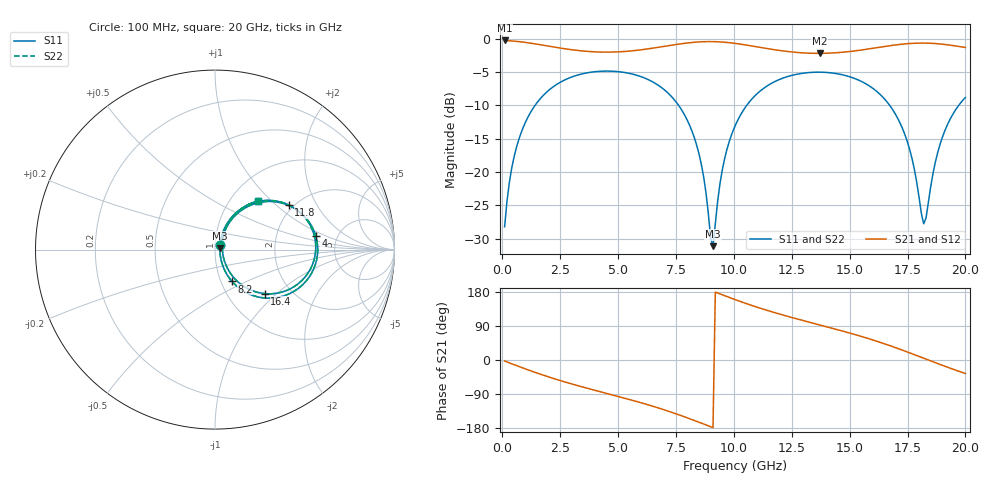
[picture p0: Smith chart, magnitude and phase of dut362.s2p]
! Touchstone file exported from HFSS 2026.1.0
!  File:  C:/ffzhzh/LocalFiles/Ansys_Project_Files/temp_train_TSV_RDL_362_1783039077_51716.aedt
!  Generated:  08:59:13 AM Jul  3, 2026
!  Design:  TSV_RDL
!  Project:  temp_train_TSV_RDL_362_1783039077_51716
! Variables:
!  h_bsmrdl = 3.42um
!  h_ox = 20um
!  h_rdl = 5um
!  h_sub = 97.12um
!  h_tmrdl = 3.23um
!  h_tsv = 97.12um
!  h_via = 3um
!  l_bsmrdl = 839.72um
!  l_sub = 6527.89um
!  l_tmrdl = 867.21um
!  m_sub = 200um
!  pitch = 57.33um
!  r_tsv = 8.73um
!  s_tmrdl = 10um
!  w_bsmrdl = 23.03um
!  w_sub = 500um
!  w_tmrdl = 23.6um
!  x_tsv_center1 = 879.01um
!  x_tsv_center2 = 1741.76um
!  x_tsv_center3 = 2632.57um
!  x_tsv_center4 = 3495.32um
!  x_tsv_center5 = 4386.13um
!  x_tsv_center6 = 5248.88um
# GHz S MA R 50.000000
! Terminal data exported
! Port[1] = TM_RDL1_1_T1
! Port[2] = TM_RDL5_1_T1
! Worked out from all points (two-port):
!   200 points, 100 MHz to 20 GHz, reference 50 ohm
!   highest |S21| = -0.25 dB at 100 MHz (marker M1); lowest = -2.2 dB at 13.7 GHz (marker M2)
!   |S21| within 3 dB of the highest: start of sweep to end of sweep
!   lowest |S11| = -31.1 dB at 9.1 GHz (marker M3), VSWR 1.06, Z = 52.8 + j0.709 ohm
!   |S11| at or under -10 dB: start of sweep to 1.414 GHz; 7.615 GHz to 10.56 GHz (2.941 GHz wide, 32.4 % of centre); 16.73 GHz to 19.71 GHz (2.98 GHz wide, 16.4 % of centre)
!   |S22| runs from -31.0 to -4.8 dB; largest |S21 - S12| = 1.6e-14
!   S11 on the Smith chart (normalised r, x): 100 MHz: 1.06, +0.05; 4 GHz: 3.41, +0.79; 8.2 GHz: 1.13, -0.42; 11.8 GHz: 1.88, +1.22; 16.4 GHz: 1.48, -0.84; 20 GHz: 1.34, +0.83
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0.1  0.03884 40.3  0.9712 -2.5  0.9712 -2.5  0.03884 40.3
! Gamma 0 0 0 0
! Port Impedance 50 0 50 0
0.5  0.128 63.2  0.9599 -12.1  0.9599 -12.1  0.128 63.2
1.1  0.2567 56.7  0.9334 -25.8  0.9334 -25.8  0.2567 56.7
2.2  0.4365 37.4  0.8686 -48.6  0.8686 -48.6  0.4365 37.4
3.5  0.5478 15.8  0.8088 -71.7  0.8088 -71.7  0.5478 15.8
4  0.566 8.0  0.7975 -80.0  0.7975 -80.0  0.566 8.0
5.4  0.5539 -13.7  0.8058 -102.7  0.8058 -102.7  0.5539 -13.7
6.8  0.4402 -37.2  0.8662 -127.7  0.8662 -127.7  0.4402 -37.2
8.2  0.2012 -61.9  0.9381 -157.4  0.9381 -157.4  0.2013 -61.8
8.7  0.09123 -63.8  0.9508 -169.0  0.9508 -169.0  0.09134 -63.5
9.1  0.0278 14.0  0.952 -178.5  0.952 -178.5  0.02817 13.8
9.5  0.1035 65.6  0.9449 172.1  0.9449 172.1  0.1036 65.4
10.1  0.2313 60.7  0.9211 158.4  0.9211 158.4  0.2313 60.6
11.8  0.4803 31.2  0.8252 124.3  0.8252 124.3  0.4803 31.2
13.4  0.5603 6.1  0.7781 97.5  0.7781 97.5  0.5603 6.1
13.7  0.5616 1.6  0.7771 92.6  0.7771 92.6  0.5616 1.6
16.4  0.3699 -41.5  0.8694 45.0  0.8694 45.0  0.3699 -41.5
16.7  0.3216 -46.5  0.8852 38.7  0.8852 38.7  0.3216 -46.6
17.6  0.1463 -56.9  0.9215 18.7  0.9215 18.7  0.1462 -56.9
18.2  0.04093 -1.7  0.9283 4.6  0.9283 4.6  0.04084 -1.7
19  0.1812 62.5  0.9106 -13.9  0.9106 -13.9  0.1812 62.5
20  0.3626 48.4  0.86 -35.5  0.86 -35.5  0.3627 48.4
